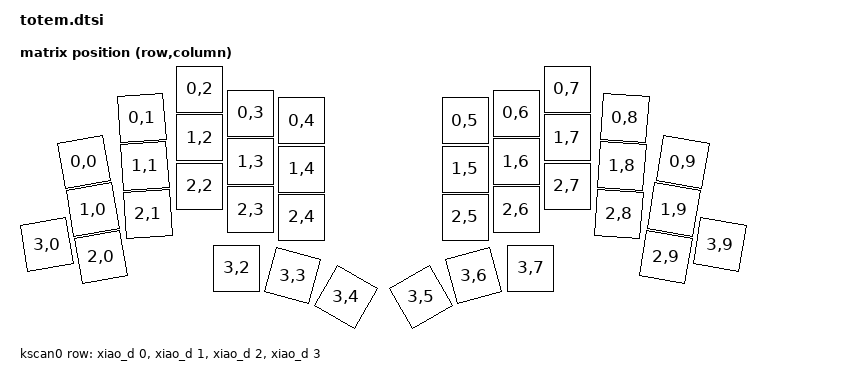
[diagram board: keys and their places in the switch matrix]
/*
 * Copyright (c) 2022 The ZMK Contributors
 *
 * SPDX-License-Identifier: MIT
 */

#include <dt-bindings/zmk/matrix_transform.h>
#include <physical_layouts.dtsi>

/ {
    chosen {
        zmk,kscan = &kscan0;
        zmk,physical-layout = &totem_physical_layout;
    };

    totem_physical_layout: totem_physical_layout {
        compatible = "zmk,physical-layout";
        display-name = "TOTEM";
        transform = <&default_transform>;
        keys  //                     w   h    x    y     rot    rx    ry
            = <&key_physical_attrs 100 100   85  149 (-1000)   135  199>
            , <&key_physical_attrs 100 100  200   61  (-400)   250  111>
            , <&key_physical_attrs 100 100  316    3      0      0    0>
            , <&key_physical_attrs 100 100  418   51      0      0    0>
            , <&key_physical_attrs 100 100  520   66      0      0    0>
            , <&key_physical_attrs 100 100  847   66      0      0    0>
            , <&key_physical_attrs 100 100  949   51      0      0    0>
            , <&key_physical_attrs 100 100 1051    3      0      0    0>
            , <&key_physical_attrs 100 100 1166   61    400   1216  111>
            , <&key_physical_attrs 100 100 1282  149   1000   1332  199>
            , <&key_physical_attrs 100 100  102  244 (-1000)   152  294>
            , <&key_physical_attrs 100 100  206  157  (-400)   256  207>
            , <&key_physical_attrs 100 100  316  100      0      0    0>
            , <&key_physical_attrs 100 100  418  148      0      0    0>
            , <&key_physical_attrs 100 100  520  163      0      0    0>
            , <&key_physical_attrs 100 100  847  163      0      0    0>
            , <&key_physical_attrs 100 100  949  148      0      0    0>
            , <&key_physical_attrs 100 100 1051  100      0      0    0>
            , <&key_physical_attrs 100 100 1160  157    400   1210  207>
            , <&key_physical_attrs 100 100 1264  244   1000   1314  294>
            , <&key_physical_attrs 100 100   10  314 (-1000)    60  364>
            , <&key_physical_attrs 100 100  119  339 (-1000)   169  389>
            , <&key_physical_attrs 100 100  213  253  (-400)   263  303>
            , <&key_physical_attrs 100 100  316  197      0      0    0>
            , <&key_physical_attrs 100 100  418  244      0      0    0>
            , <&key_physical_attrs 100 100  520  259      0      0    0>
            , <&key_physical_attrs 100 100  847  259      0      0    0>
            , <&key_physical_attrs 100 100  949  244      0      0    0>
            , <&key_physical_attrs 100 100 1051  197      0      0    0>
            , <&key_physical_attrs 100 100 1154  253    400   1204  303>
            , <&key_physical_attrs 100 100 1248  339   1000   1298  389>
            , <&key_physical_attrs 100 100 1356  314   1000   1406  364>
            , <&key_physical_attrs 100 100  390  361      0      0    0>
            , <&key_physical_attrs 100 100  502  376   1500    552  426>
            , <&key_physical_attrs 100 100  608  419   3000    658  469>
            , <&key_physical_attrs 100 100  758  419 (-3000)   808  469>
            , <&key_physical_attrs 100 100  864  376 (-1500)   914  426>
            , <&key_physical_attrs 100 100  978  361      0      0    0>
        ;
    };

    default_transform: keymap_transform_0 {
        compatible = "zmk,matrix-transform";
        columns = <10>;
        rows = <4>;
//             | SW01  | SW02  | SW03  | SW04  | SW05  |  | SW05  | SW04  | SW03  | SW02  | SW01  |
//             | SW06  | SW07  | SW08  | SW09  | SW10  |  | SW10  | SW09  | SW08  | SW07  | SW06  | 
//      | SW16 | SW11  | SW12  | SW13  | SW14  | SW15  |  | SW15  | SW14  | SW13  | SW12  | SW11  | SW16  |
//                             | SW17  | SW18  | SW19  |  | SW19  | SW18  | SW17  | 
        map = <
                RC(0,0) RC(0,1) RC(0,2) RC(0,3) RC(0,4)    RC(0,5) RC(0,6) RC(0,7) RC(0,8) RC(0,9)
                RC(1,0) RC(1,1) RC(1,2) RC(1,3) RC(1,4)    RC(1,5) RC(1,6) RC(1,7) RC(1,8) RC(1,9)
        RC(3,0) RC(2,0) RC(2,1) RC(2,2) RC(2,3) RC(2,4)    RC(2,5) RC(2,6) RC(2,7) RC(2,8) RC(2,9) RC(3,9)
                                RC(3,2) RC(3,3) RC(3,4)    RC(3,5) RC(3,6) RC(3,7)         
        >;
    };


    kscan0: kscan_0 {
        compatible = "zmk,kscan-gpio-matrix";
        label = "KSCAN";

        diode-direction = "col2row"; 
        row-gpios
            = <&xiao_d 0 (GPIO_ACTIVE_HIGH | GPIO_PULL_DOWN)>
            , <&xiao_d 1 (GPIO_ACTIVE_HIGH | GPIO_PULL_DOWN)>
            , <&xiao_d 2 (GPIO_ACTIVE_HIGH | GPIO_PULL_DOWN)>
            , <&xiao_d 3 (GPIO_ACTIVE_HIGH | GPIO_PULL_DOWN)>
            ;
    };
};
